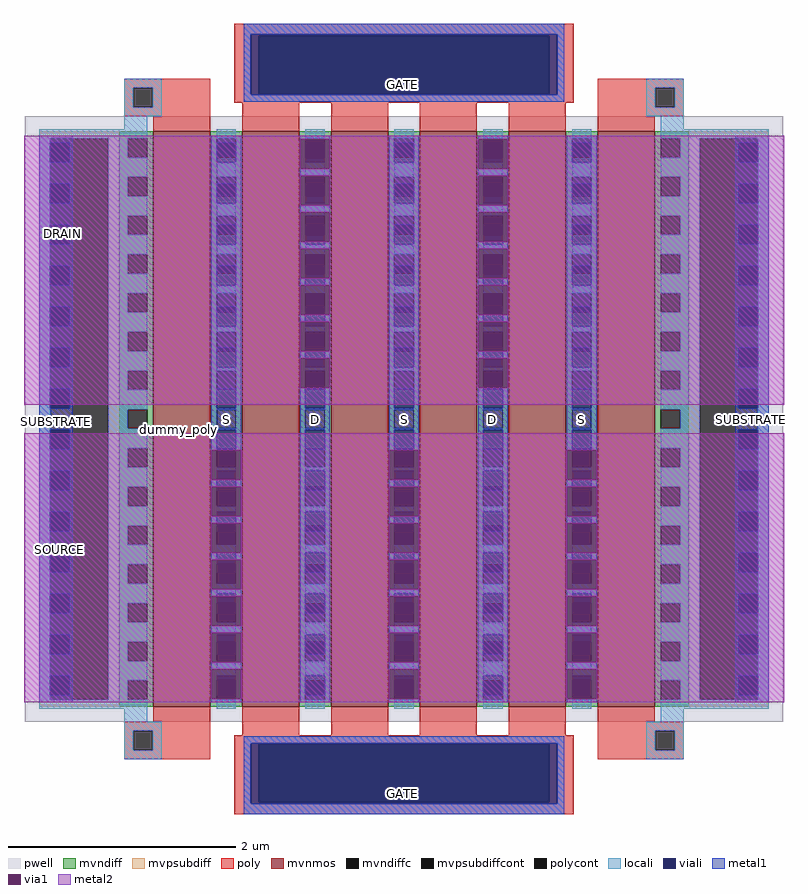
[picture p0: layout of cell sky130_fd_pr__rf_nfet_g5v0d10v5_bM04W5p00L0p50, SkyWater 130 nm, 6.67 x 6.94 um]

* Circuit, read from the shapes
.subckt sky130_fd_pr__rf_nfet_g5v0d10v5_bM04W5p00L0p50 DRAIN GATE SOURCE SUBSTRATE
XM1 SOURCE SUBSTRATE SUBSTRATE SUBSTRATE sky130_fd_pr__nfet_g5v0d10v5 w=5.05 l=0.5 m=2
XM2 DRAIN GATE SOURCE SUBSTRATE sky130_fd_pr__nfet_g5v0d10v5 w=5.05 l=0.5 m=4
.ends

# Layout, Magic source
magic
tech sky130A
magscale 1 2
<< pwell >>
rect 15 163 1347 1225
<< mvnmos >>
rect 241 189 341 1199
rect 397 189 497 1199
rect 553 189 653 1199
rect 709 189 809 1199
rect 865 189 965 1199
rect 1021 189 1121 1199
<< mvndiff >>
rect 181 1187 241 1199
rect 181 1153 196 1187
rect 230 1153 241 1187
rect 181 1119 241 1153
rect 181 1085 196 1119
rect 230 1085 241 1119
rect 181 1051 241 1085
rect 181 1017 196 1051
rect 230 1017 241 1051
rect 181 983 241 1017
rect 181 949 196 983
rect 230 949 241 983
rect 181 915 241 949
rect 181 881 196 915
rect 230 881 241 915
rect 181 847 241 881
rect 181 813 196 847
rect 230 813 241 847
rect 181 779 241 813
rect 181 745 196 779
rect 230 745 241 779
rect 181 711 241 745
rect 181 677 196 711
rect 230 677 241 711
rect 181 643 241 677
rect 181 609 196 643
rect 230 609 241 643
rect 181 575 241 609
rect 181 541 196 575
rect 230 541 241 575
rect 181 507 241 541
rect 181 473 196 507
rect 230 473 241 507
rect 181 439 241 473
rect 181 405 196 439
rect 230 405 241 439
rect 181 371 241 405
rect 181 337 196 371
rect 230 337 241 371
rect 181 303 241 337
rect 181 269 196 303
rect 230 269 241 303
rect 181 235 241 269
rect 181 201 196 235
rect 230 201 241 235
rect 181 189 241 201
rect 341 1187 397 1199
rect 341 1153 352 1187
rect 386 1153 397 1187
rect 341 1119 397 1153
rect 341 1085 352 1119
rect 386 1085 397 1119
rect 341 1051 397 1085
rect 341 1017 352 1051
rect 386 1017 397 1051
rect 341 983 397 1017
rect 341 949 352 983
rect 386 949 397 983
rect 341 915 397 949
rect 341 881 352 915
rect 386 881 397 915
rect 341 847 397 881
rect 341 813 352 847
rect 386 813 397 847
rect 341 779 397 813
rect 341 745 352 779
rect 386 745 397 779
rect 341 711 397 745
rect 341 677 352 711
rect 386 677 397 711
rect 341 643 397 677
rect 341 609 352 643
rect 386 609 397 643
rect 341 575 397 609
rect 341 541 352 575
rect 386 541 397 575
rect 341 507 397 541
rect 341 473 352 507
rect 386 473 397 507
rect 341 439 397 473
rect 341 405 352 439
rect 386 405 397 439
rect 341 371 397 405
rect 341 337 352 371
rect 386 337 397 371
rect 341 303 397 337
rect 341 269 352 303
rect 386 269 397 303
rect 341 235 397 269
rect 341 201 352 235
rect 386 201 397 235
rect 341 189 397 201
rect 497 1187 553 1199
rect 497 1153 508 1187
rect 542 1153 553 1187
rect 497 1119 553 1153
rect 497 1085 508 1119
rect 542 1085 553 1119
rect 497 1051 553 1085
rect 497 1017 508 1051
rect 542 1017 553 1051
rect 497 983 553 1017
rect 497 949 508 983
rect 542 949 553 983
rect 497 915 553 949
rect 497 881 508 915
rect 542 881 553 915
rect 497 847 553 881
rect 497 813 508 847
rect 542 813 553 847
rect 497 779 553 813
rect 497 745 508 779
rect 542 745 553 779
rect 497 711 553 745
rect 497 677 508 711
rect 542 677 553 711
rect 497 643 553 677
rect 497 609 508 643
rect 542 609 553 643
rect 497 575 553 609
rect 497 541 508 575
rect 542 541 553 575
rect 497 507 553 541
rect 497 473 508 507
rect 542 473 553 507
rect 497 439 553 473
rect 497 405 508 439
rect 542 405 553 439
rect 497 371 553 405
rect 497 337 508 371
rect 542 337 553 371
rect 497 303 553 337
rect 497 269 508 303
rect 542 269 553 303
rect 497 235 553 269
rect 497 201 508 235
rect 542 201 553 235
rect 497 189 553 201
rect 653 1187 709 1199
rect 653 1153 664 1187
rect 698 1153 709 1187
rect 653 1119 709 1153
rect 653 1085 664 1119
rect 698 1085 709 1119
rect 653 1051 709 1085
rect 653 1017 664 1051
rect 698 1017 709 1051
rect 653 983 709 1017
rect 653 949 664 983
rect 698 949 709 983
rect 653 915 709 949
rect 653 881 664 915
rect 698 881 709 915
rect 653 847 709 881
rect 653 813 664 847
rect 698 813 709 847
rect 653 779 709 813
rect 653 745 664 779
rect 698 745 709 779
rect 653 711 709 745
rect 653 677 664 711
rect 698 677 709 711
rect 653 643 709 677
rect 653 609 664 643
rect 698 609 709 643
rect 653 575 709 609
rect 653 541 664 575
rect 698 541 709 575
rect 653 507 709 541
rect 653 473 664 507
rect 698 473 709 507
rect 653 439 709 473
rect 653 405 664 439
rect 698 405 709 439
rect 653 371 709 405
rect 653 337 664 371
rect 698 337 709 371
rect 653 303 709 337
rect 653 269 664 303
rect 698 269 709 303
rect 653 235 709 269
rect 653 201 664 235
rect 698 201 709 235
rect 653 189 709 201
rect 809 1187 865 1199
rect 809 1153 820 1187
rect 854 1153 865 1187
rect 809 1119 865 1153
rect 809 1085 820 1119
rect 854 1085 865 1119
rect 809 1051 865 1085
rect 809 1017 820 1051
rect 854 1017 865 1051
rect 809 983 865 1017
rect 809 949 820 983
rect 854 949 865 983
rect 809 915 865 949
rect 809 881 820 915
rect 854 881 865 915
rect 809 847 865 881
rect 809 813 820 847
rect 854 813 865 847
rect 809 779 865 813
rect 809 745 820 779
rect 854 745 865 779
rect 809 711 865 745
rect 809 677 820 711
rect 854 677 865 711
rect 809 643 865 677
rect 809 609 820 643
rect 854 609 865 643
rect 809 575 865 609
rect 809 541 820 575
rect 854 541 865 575
rect 809 507 865 541
rect 809 473 820 507
rect 854 473 865 507
rect 809 439 865 473
rect 809 405 820 439
rect 854 405 865 439
rect 809 371 865 405
rect 809 337 820 371
rect 854 337 865 371
rect 809 303 865 337
rect 809 269 820 303
rect 854 269 865 303
rect 809 235 865 269
rect 809 201 820 235
rect 854 201 865 235
rect 809 189 865 201
rect 965 1187 1021 1199
rect 965 1153 976 1187
rect 1010 1153 1021 1187
rect 965 1119 1021 1153
rect 965 1085 976 1119
rect 1010 1085 1021 1119
rect 965 1051 1021 1085
rect 965 1017 976 1051
rect 1010 1017 1021 1051
rect 965 983 1021 1017
rect 965 949 976 983
rect 1010 949 1021 983
rect 965 915 1021 949
rect 965 881 976 915
rect 1010 881 1021 915
rect 965 847 1021 881
rect 965 813 976 847
rect 1010 813 1021 847
rect 965 779 1021 813
rect 965 745 976 779
rect 1010 745 1021 779
rect 965 711 1021 745
rect 965 677 976 711
rect 1010 677 1021 711
rect 965 643 1021 677
rect 965 609 976 643
rect 1010 609 1021 643
rect 965 575 1021 609
rect 965 541 976 575
rect 1010 541 1021 575
rect 965 507 1021 541
rect 965 473 976 507
rect 1010 473 1021 507
rect 965 439 1021 473
rect 965 405 976 439
rect 1010 405 1021 439
rect 965 371 1021 405
rect 965 337 976 371
rect 1010 337 1021 371
rect 965 303 1021 337
rect 965 269 976 303
rect 1010 269 1021 303
rect 965 235 1021 269
rect 965 201 976 235
rect 1010 201 1021 235
rect 965 189 1021 201
rect 1121 1187 1181 1199
rect 1121 1153 1132 1187
rect 1166 1153 1181 1187
rect 1121 1119 1181 1153
rect 1121 1085 1132 1119
rect 1166 1085 1181 1119
rect 1121 1051 1181 1085
rect 1121 1017 1132 1051
rect 1166 1017 1181 1051
rect 1121 983 1181 1017
rect 1121 949 1132 983
rect 1166 949 1181 983
rect 1121 915 1181 949
rect 1121 881 1132 915
rect 1166 881 1181 915
rect 1121 847 1181 881
rect 1121 813 1132 847
rect 1166 813 1181 847
rect 1121 779 1181 813
rect 1121 745 1132 779
rect 1166 745 1181 779
rect 1121 711 1181 745
rect 1121 677 1132 711
rect 1166 677 1181 711
rect 1121 643 1181 677
rect 1121 609 1132 643
rect 1166 609 1181 643
rect 1121 575 1181 609
rect 1121 541 1132 575
rect 1166 541 1181 575
rect 1121 507 1181 541
rect 1121 473 1132 507
rect 1166 473 1181 507
rect 1121 439 1181 473
rect 1121 405 1132 439
rect 1166 405 1181 439
rect 1121 371 1181 405
rect 1121 337 1132 371
rect 1166 337 1181 371
rect 1121 303 1181 337
rect 1121 269 1132 303
rect 1166 269 1181 303
rect 1121 235 1181 269
rect 1121 201 1132 235
rect 1166 201 1181 235
rect 1121 189 1181 201
<< mvndiffc >>
rect 196 1153 230 1187
rect 196 1085 230 1119
rect 196 1017 230 1051
rect 196 949 230 983
rect 196 881 230 915
rect 196 813 230 847
rect 196 745 230 779
rect 196 677 230 711
rect 196 609 230 643
rect 196 541 230 575
rect 196 473 230 507
rect 196 405 230 439
rect 196 337 230 371
rect 196 269 230 303
rect 196 201 230 235
rect 352 1153 386 1187
rect 352 1085 386 1119
rect 352 1017 386 1051
rect 352 949 386 983
rect 352 881 386 915
rect 352 813 386 847
rect 352 745 386 779
rect 352 677 386 711
rect 352 609 386 643
rect 352 541 386 575
rect 352 473 386 507
rect 352 405 386 439
rect 352 337 386 371
rect 352 269 386 303
rect 352 201 386 235
rect 508 1153 542 1187
rect 508 1085 542 1119
rect 508 1017 542 1051
rect 508 949 542 983
rect 508 881 542 915
rect 508 813 542 847
rect 508 745 542 779
rect 508 677 542 711
rect 508 609 542 643
rect 508 541 542 575
rect 508 473 542 507
rect 508 405 542 439
rect 508 337 542 371
rect 508 269 542 303
rect 508 201 542 235
rect 664 1153 698 1187
rect 664 1085 698 1119
rect 664 1017 698 1051
rect 664 949 698 983
rect 664 881 698 915
rect 664 813 698 847
rect 664 745 698 779
rect 664 677 698 711
rect 664 609 698 643
rect 664 541 698 575
rect 664 473 698 507
rect 664 405 698 439
rect 664 337 698 371
rect 664 269 698 303
rect 664 201 698 235
rect 820 1153 854 1187
rect 820 1085 854 1119
rect 820 1017 854 1051
rect 820 949 854 983
rect 820 881 854 915
rect 820 813 854 847
rect 820 745 854 779
rect 820 677 854 711
rect 820 609 854 643
rect 820 541 854 575
rect 820 473 854 507
rect 820 405 854 439
rect 820 337 854 371
rect 820 269 854 303
rect 820 201 854 235
rect 976 1153 1010 1187
rect 976 1085 1010 1119
rect 976 1017 1010 1051
rect 976 949 1010 983
rect 976 881 1010 915
rect 976 813 1010 847
rect 976 745 1010 779
rect 976 677 1010 711
rect 976 609 1010 643
rect 976 541 1010 575
rect 976 473 1010 507
rect 976 405 1010 439
rect 976 337 1010 371
rect 976 269 1010 303
rect 976 201 1010 235
rect 1132 1153 1166 1187
rect 1132 1085 1166 1119
rect 1132 1017 1166 1051
rect 1132 949 1166 983
rect 1132 881 1166 915
rect 1132 813 1166 847
rect 1132 745 1166 779
rect 1132 677 1166 711
rect 1132 609 1166 643
rect 1132 541 1166 575
rect 1132 473 1166 507
rect 1132 405 1166 439
rect 1132 337 1166 371
rect 1132 269 1166 303
rect 1132 201 1166 235
<< mvpsubdiff >>
rect 41 1187 181 1199
rect 41 201 60 1187
rect 162 201 181 1187
rect 41 189 181 201
rect 1181 1187 1321 1199
rect 1181 201 1200 1187
rect 1302 201 1321 1187
rect 1181 189 1321 201
<< mvpsubdiffcont >>
rect 60 201 162 1187
rect 1200 201 1302 1187
<< poly >>
rect 383 1367 979 1388
rect 190 1275 341 1291
rect 190 1241 206 1275
rect 240 1241 341 1275
rect 383 1265 426 1367
rect 936 1265 979 1367
rect 383 1249 979 1265
rect 1021 1275 1172 1291
rect 190 1225 341 1241
rect 241 1199 341 1225
rect 397 1199 497 1249
rect 553 1199 653 1249
rect 709 1199 809 1249
rect 865 1199 965 1249
rect 1021 1241 1122 1275
rect 1156 1241 1172 1275
rect 1021 1225 1172 1241
rect 1021 1199 1121 1225
rect 241 163 341 189
rect 190 147 341 163
rect 190 113 206 147
rect 240 113 341 147
rect 397 139 497 189
rect 553 139 653 189
rect 709 139 809 189
rect 865 139 965 189
rect 1021 163 1121 189
rect 1021 147 1172 163
rect 190 97 341 113
rect 383 123 979 139
rect 383 21 426 123
rect 936 21 979 123
rect 1021 113 1122 147
rect 1156 113 1172 147
rect 1021 97 1172 113
rect 383 0 979 21
<< polycont >>
rect 206 1241 240 1275
rect 426 1265 936 1367
rect 1122 1241 1156 1275
rect 206 113 240 147
rect 426 21 936 123
rect 1122 113 1156 147
<< locali >>
rect 400 1369 962 1388
rect 190 1275 256 1291
rect 190 1241 206 1275
rect 240 1241 256 1275
rect 400 1263 412 1369
rect 950 1263 962 1369
rect 400 1251 962 1263
rect 1106 1275 1172 1291
rect 190 1225 256 1241
rect 1106 1241 1122 1275
rect 1156 1241 1172 1275
rect 1106 1225 1172 1241
rect 190 1203 230 1225
rect 1132 1203 1172 1225
rect 41 1187 230 1203
rect 41 201 60 1187
rect 162 1153 196 1187
rect 162 1119 230 1153
rect 162 1085 196 1119
rect 162 1051 230 1085
rect 162 1017 196 1051
rect 162 983 230 1017
rect 162 949 196 983
rect 162 915 230 949
rect 162 881 196 915
rect 162 847 230 881
rect 162 813 196 847
rect 162 779 230 813
rect 162 745 196 779
rect 162 711 230 745
rect 162 677 196 711
rect 162 643 230 677
rect 162 609 196 643
rect 162 575 230 609
rect 162 541 196 575
rect 162 507 230 541
rect 162 473 196 507
rect 162 439 230 473
rect 162 405 196 439
rect 162 371 230 405
rect 162 337 196 371
rect 162 303 230 337
rect 162 269 196 303
rect 162 235 230 269
rect 162 201 196 235
rect 41 185 230 201
rect 352 1187 386 1203
rect 352 1119 386 1145
rect 352 1051 386 1073
rect 352 983 386 1001
rect 352 915 386 929
rect 352 847 386 857
rect 352 779 386 785
rect 352 711 386 713
rect 352 675 386 677
rect 352 603 386 609
rect 352 531 386 541
rect 352 459 386 473
rect 352 387 386 405
rect 352 315 386 337
rect 352 243 386 269
rect 352 185 386 201
rect 508 1187 542 1203
rect 508 1119 542 1145
rect 508 1051 542 1073
rect 508 983 542 1001
rect 508 915 542 929
rect 508 847 542 857
rect 508 779 542 785
rect 508 711 542 713
rect 508 675 542 677
rect 508 603 542 609
rect 508 531 542 541
rect 508 459 542 473
rect 508 387 542 405
rect 508 315 542 337
rect 508 243 542 269
rect 508 185 542 201
rect 664 1187 698 1203
rect 664 1119 698 1145
rect 664 1051 698 1073
rect 664 983 698 1001
rect 664 915 698 929
rect 664 847 698 857
rect 664 779 698 785
rect 664 711 698 713
rect 664 675 698 677
rect 664 603 698 609
rect 664 531 698 541
rect 664 459 698 473
rect 664 387 698 405
rect 664 315 698 337
rect 664 243 698 269
rect 664 185 698 201
rect 820 1187 854 1203
rect 820 1119 854 1145
rect 820 1051 854 1073
rect 820 983 854 1001
rect 820 915 854 929
rect 820 847 854 857
rect 820 779 854 785
rect 820 711 854 713
rect 820 675 854 677
rect 820 603 854 609
rect 820 531 854 541
rect 820 459 854 473
rect 820 387 854 405
rect 820 315 854 337
rect 820 243 854 269
rect 820 185 854 201
rect 976 1187 1010 1203
rect 976 1119 1010 1145
rect 976 1051 1010 1073
rect 976 983 1010 1001
rect 976 915 1010 929
rect 976 847 1010 857
rect 976 779 1010 785
rect 976 711 1010 713
rect 976 675 1010 677
rect 976 603 1010 609
rect 976 531 1010 541
rect 976 459 1010 473
rect 976 387 1010 405
rect 976 315 1010 337
rect 976 243 1010 269
rect 976 185 1010 201
rect 1132 1187 1321 1203
rect 1166 1153 1200 1187
rect 1132 1119 1200 1153
rect 1166 1085 1200 1119
rect 1132 1051 1200 1085
rect 1166 1017 1200 1051
rect 1132 983 1200 1017
rect 1166 949 1200 983
rect 1132 915 1200 949
rect 1166 881 1200 915
rect 1132 847 1200 881
rect 1166 813 1200 847
rect 1132 779 1200 813
rect 1166 745 1200 779
rect 1132 711 1200 745
rect 1166 677 1200 711
rect 1132 643 1200 677
rect 1166 609 1200 643
rect 1132 575 1200 609
rect 1166 541 1200 575
rect 1132 507 1200 541
rect 1166 473 1200 507
rect 1132 439 1200 473
rect 1166 405 1200 439
rect 1132 371 1200 405
rect 1166 337 1200 371
rect 1132 303 1200 337
rect 1166 269 1200 303
rect 1132 235 1200 269
rect 1166 201 1200 235
rect 1302 201 1321 1187
rect 1132 185 1321 201
rect 190 163 230 185
rect 1132 163 1172 185
rect 190 147 256 163
rect 190 113 206 147
rect 240 113 256 147
rect 1106 147 1172 163
rect 190 97 256 113
rect 400 125 962 137
rect 400 19 412 125
rect 950 19 962 125
rect 1106 113 1122 147
rect 1156 113 1172 147
rect 1106 97 1172 113
rect 400 0 962 19
<< viali >>
rect 412 1367 950 1369
rect 412 1265 426 1367
rect 426 1265 936 1367
rect 936 1265 950 1367
rect 412 1263 950 1265
rect 60 1145 94 1179
rect 60 1073 94 1107
rect 60 1001 94 1035
rect 60 929 94 963
rect 60 857 94 891
rect 60 785 94 819
rect 60 713 94 747
rect 60 641 94 675
rect 60 569 94 603
rect 60 497 94 531
rect 60 425 94 459
rect 60 353 94 387
rect 60 281 94 315
rect 60 209 94 243
rect 352 1153 386 1179
rect 352 1145 386 1153
rect 352 1085 386 1107
rect 352 1073 386 1085
rect 352 1017 386 1035
rect 352 1001 386 1017
rect 352 949 386 963
rect 352 929 386 949
rect 352 881 386 891
rect 352 857 386 881
rect 352 813 386 819
rect 352 785 386 813
rect 352 745 386 747
rect 352 713 386 745
rect 352 643 386 675
rect 352 641 386 643
rect 352 575 386 603
rect 352 569 386 575
rect 352 507 386 531
rect 352 497 386 507
rect 352 439 386 459
rect 352 425 386 439
rect 352 371 386 387
rect 352 353 386 371
rect 352 303 386 315
rect 352 281 386 303
rect 352 235 386 243
rect 352 209 386 235
rect 508 1153 542 1179
rect 508 1145 542 1153
rect 508 1085 542 1107
rect 508 1073 542 1085
rect 508 1017 542 1035
rect 508 1001 542 1017
rect 508 949 542 963
rect 508 929 542 949
rect 508 881 542 891
rect 508 857 542 881
rect 508 813 542 819
rect 508 785 542 813
rect 508 745 542 747
rect 508 713 542 745
rect 508 643 542 675
rect 508 641 542 643
rect 508 575 542 603
rect 508 569 542 575
rect 508 507 542 531
rect 508 497 542 507
rect 508 439 542 459
rect 508 425 542 439
rect 508 371 542 387
rect 508 353 542 371
rect 508 303 542 315
rect 508 281 542 303
rect 508 235 542 243
rect 508 209 542 235
rect 664 1153 698 1179
rect 664 1145 698 1153
rect 664 1085 698 1107
rect 664 1073 698 1085
rect 664 1017 698 1035
rect 664 1001 698 1017
rect 664 949 698 963
rect 664 929 698 949
rect 664 881 698 891
rect 664 857 698 881
rect 664 813 698 819
rect 664 785 698 813
rect 664 745 698 747
rect 664 713 698 745
rect 664 643 698 675
rect 664 641 698 643
rect 664 575 698 603
rect 664 569 698 575
rect 664 507 698 531
rect 664 497 698 507
rect 664 439 698 459
rect 664 425 698 439
rect 664 371 698 387
rect 664 353 698 371
rect 664 303 698 315
rect 664 281 698 303
rect 664 235 698 243
rect 664 209 698 235
rect 820 1153 854 1179
rect 820 1145 854 1153
rect 820 1085 854 1107
rect 820 1073 854 1085
rect 820 1017 854 1035
rect 820 1001 854 1017
rect 820 949 854 963
rect 820 929 854 949
rect 820 881 854 891
rect 820 857 854 881
rect 820 813 854 819
rect 820 785 854 813
rect 820 745 854 747
rect 820 713 854 745
rect 820 643 854 675
rect 820 641 854 643
rect 820 575 854 603
rect 820 569 854 575
rect 820 507 854 531
rect 820 497 854 507
rect 820 439 854 459
rect 820 425 854 439
rect 820 371 854 387
rect 820 353 854 371
rect 820 303 854 315
rect 820 281 854 303
rect 820 235 854 243
rect 820 209 854 235
rect 976 1153 1010 1179
rect 976 1145 1010 1153
rect 976 1085 1010 1107
rect 976 1073 1010 1085
rect 976 1017 1010 1035
rect 976 1001 1010 1017
rect 976 949 1010 963
rect 976 929 1010 949
rect 976 881 1010 891
rect 976 857 1010 881
rect 976 813 1010 819
rect 976 785 1010 813
rect 976 745 1010 747
rect 976 713 1010 745
rect 976 643 1010 675
rect 976 641 1010 643
rect 976 575 1010 603
rect 976 569 1010 575
rect 976 507 1010 531
rect 976 497 1010 507
rect 976 439 1010 459
rect 976 425 1010 439
rect 976 371 1010 387
rect 976 353 1010 371
rect 976 303 1010 315
rect 976 281 1010 303
rect 976 235 1010 243
rect 976 209 1010 235
rect 1268 1145 1302 1179
rect 1268 1073 1302 1107
rect 1268 1001 1302 1035
rect 1268 929 1302 963
rect 1268 857 1302 891
rect 1268 785 1302 819
rect 1268 713 1302 747
rect 1268 641 1302 675
rect 1268 569 1302 603
rect 1268 497 1302 531
rect 1268 425 1302 459
rect 1268 353 1302 387
rect 1268 281 1302 315
rect 1268 209 1302 243
rect 412 123 950 125
rect 412 21 426 123
rect 426 21 936 123
rect 936 21 950 123
rect 412 19 950 21
<< metal1 >>
rect 400 1369 962 1388
rect 400 1263 412 1369
rect 950 1263 962 1369
rect 400 1251 962 1263
rect 41 1179 100 1191
rect 41 1145 60 1179
rect 94 1145 100 1179
rect 41 1107 100 1145
rect 41 1073 60 1107
rect 94 1073 100 1107
rect 41 1035 100 1073
rect 41 1001 60 1035
rect 94 1001 100 1035
rect 41 963 100 1001
rect 41 929 60 963
rect 94 929 100 963
rect 41 891 100 929
rect 41 857 60 891
rect 94 857 100 891
rect 41 819 100 857
rect 41 785 60 819
rect 94 785 100 819
rect 41 747 100 785
rect 41 713 60 747
rect 94 713 100 747
rect 41 675 100 713
rect 41 641 60 675
rect 94 641 100 675
rect 41 603 100 641
rect 41 569 60 603
rect 94 569 100 603
rect 41 531 100 569
rect 41 497 60 531
rect 94 497 100 531
rect 41 459 100 497
rect 41 425 60 459
rect 94 425 100 459
rect 41 387 100 425
rect 41 353 60 387
rect 94 353 100 387
rect 41 315 100 353
rect 41 281 60 315
rect 94 281 100 315
rect 41 243 100 281
rect 41 209 60 243
rect 94 209 100 243
rect 41 197 100 209
rect 343 1179 395 1191
rect 343 1145 352 1179
rect 386 1145 395 1179
rect 343 1107 395 1145
rect 343 1073 352 1107
rect 386 1073 395 1107
rect 343 1035 395 1073
rect 343 1001 352 1035
rect 386 1001 395 1035
rect 343 963 395 1001
rect 343 929 352 963
rect 386 929 395 963
rect 343 891 395 929
rect 343 857 352 891
rect 386 857 395 891
rect 343 819 395 857
rect 343 785 352 819
rect 386 785 395 819
rect 343 747 395 785
rect 343 713 352 747
rect 386 713 395 747
rect 343 675 395 713
rect 343 641 352 675
rect 386 641 395 675
rect 343 639 395 641
rect 343 575 352 587
rect 386 575 395 587
rect 343 511 352 523
rect 386 511 395 523
rect 343 447 352 459
rect 386 447 395 459
rect 343 387 395 395
rect 343 383 352 387
rect 386 383 395 387
rect 343 319 395 331
rect 343 255 395 267
rect 343 197 395 203
rect 499 1185 551 1191
rect 499 1121 551 1133
rect 499 1057 551 1069
rect 499 1001 508 1005
rect 542 1001 551 1005
rect 499 993 551 1001
rect 499 929 508 941
rect 542 929 551 941
rect 499 865 508 877
rect 542 865 551 877
rect 499 801 508 813
rect 542 801 551 813
rect 499 747 551 749
rect 499 713 508 747
rect 542 713 551 747
rect 499 675 551 713
rect 499 641 508 675
rect 542 641 551 675
rect 499 603 551 641
rect 499 569 508 603
rect 542 569 551 603
rect 499 531 551 569
rect 499 497 508 531
rect 542 497 551 531
rect 499 459 551 497
rect 499 425 508 459
rect 542 425 551 459
rect 499 387 551 425
rect 499 353 508 387
rect 542 353 551 387
rect 499 315 551 353
rect 499 281 508 315
rect 542 281 551 315
rect 499 243 551 281
rect 499 209 508 243
rect 542 209 551 243
rect 499 197 551 209
rect 655 1179 707 1191
rect 655 1145 664 1179
rect 698 1145 707 1179
rect 655 1107 707 1145
rect 655 1073 664 1107
rect 698 1073 707 1107
rect 655 1035 707 1073
rect 655 1001 664 1035
rect 698 1001 707 1035
rect 655 963 707 1001
rect 655 929 664 963
rect 698 929 707 963
rect 655 891 707 929
rect 655 857 664 891
rect 698 857 707 891
rect 655 819 707 857
rect 655 785 664 819
rect 698 785 707 819
rect 655 747 707 785
rect 655 713 664 747
rect 698 713 707 747
rect 655 675 707 713
rect 655 641 664 675
rect 698 641 707 675
rect 655 639 707 641
rect 655 575 664 587
rect 698 575 707 587
rect 655 511 664 523
rect 698 511 707 523
rect 655 447 664 459
rect 698 447 707 459
rect 655 387 707 395
rect 655 383 664 387
rect 698 383 707 387
rect 655 319 707 331
rect 655 255 707 267
rect 655 197 707 203
rect 811 1185 863 1191
rect 811 1121 863 1133
rect 811 1057 863 1069
rect 811 1001 820 1005
rect 854 1001 863 1005
rect 811 993 863 1001
rect 811 929 820 941
rect 854 929 863 941
rect 811 865 820 877
rect 854 865 863 877
rect 811 801 820 813
rect 854 801 863 813
rect 811 747 863 749
rect 811 713 820 747
rect 854 713 863 747
rect 811 675 863 713
rect 811 641 820 675
rect 854 641 863 675
rect 811 603 863 641
rect 811 569 820 603
rect 854 569 863 603
rect 811 531 863 569
rect 811 497 820 531
rect 854 497 863 531
rect 811 459 863 497
rect 811 425 820 459
rect 854 425 863 459
rect 811 387 863 425
rect 811 353 820 387
rect 854 353 863 387
rect 811 315 863 353
rect 811 281 820 315
rect 854 281 863 315
rect 811 243 863 281
rect 811 209 820 243
rect 854 209 863 243
rect 811 197 863 209
rect 967 1179 1019 1191
rect 967 1145 976 1179
rect 1010 1145 1019 1179
rect 967 1107 1019 1145
rect 967 1073 976 1107
rect 1010 1073 1019 1107
rect 967 1035 1019 1073
rect 967 1001 976 1035
rect 1010 1001 1019 1035
rect 967 963 1019 1001
rect 967 929 976 963
rect 1010 929 1019 963
rect 967 891 1019 929
rect 967 857 976 891
rect 1010 857 1019 891
rect 967 819 1019 857
rect 967 785 976 819
rect 1010 785 1019 819
rect 967 747 1019 785
rect 967 713 976 747
rect 1010 713 1019 747
rect 967 675 1019 713
rect 967 641 976 675
rect 1010 641 1019 675
rect 967 639 1019 641
rect 967 575 976 587
rect 1010 575 1019 587
rect 967 511 976 523
rect 1010 511 1019 523
rect 967 447 976 459
rect 1010 447 1019 459
rect 967 387 1019 395
rect 967 383 976 387
rect 1010 383 1019 387
rect 967 319 1019 331
rect 967 255 1019 267
rect 967 197 1019 203
rect 1262 1179 1321 1191
rect 1262 1145 1268 1179
rect 1302 1145 1321 1179
rect 1262 1107 1321 1145
rect 1262 1073 1268 1107
rect 1302 1073 1321 1107
rect 1262 1035 1321 1073
rect 1262 1001 1268 1035
rect 1302 1001 1321 1035
rect 1262 963 1321 1001
rect 1262 929 1268 963
rect 1302 929 1321 963
rect 1262 891 1321 929
rect 1262 857 1268 891
rect 1302 857 1321 891
rect 1262 819 1321 857
rect 1262 785 1268 819
rect 1302 785 1321 819
rect 1262 747 1321 785
rect 1262 713 1268 747
rect 1302 713 1321 747
rect 1262 675 1321 713
rect 1262 641 1268 675
rect 1302 641 1321 675
rect 1262 603 1321 641
rect 1262 569 1268 603
rect 1302 569 1321 603
rect 1262 531 1321 569
rect 1262 497 1268 531
rect 1302 497 1321 531
rect 1262 459 1321 497
rect 1262 425 1268 459
rect 1302 425 1321 459
rect 1262 387 1321 425
rect 1262 353 1268 387
rect 1302 353 1321 387
rect 1262 315 1321 353
rect 1262 281 1268 315
rect 1302 281 1321 315
rect 1262 243 1321 281
rect 1262 209 1268 243
rect 1302 209 1321 243
rect 1262 197 1321 209
rect 400 125 962 137
rect 400 19 412 125
rect 950 19 962 125
rect 400 0 962 19
<< via1 >>
rect 343 603 395 639
rect 343 587 352 603
rect 352 587 386 603
rect 386 587 395 603
rect 343 569 352 575
rect 352 569 386 575
rect 386 569 395 575
rect 343 531 395 569
rect 343 523 352 531
rect 352 523 386 531
rect 386 523 395 531
rect 343 497 352 511
rect 352 497 386 511
rect 386 497 395 511
rect 343 459 395 497
rect 343 425 352 447
rect 352 425 386 447
rect 386 425 395 447
rect 343 395 395 425
rect 343 353 352 383
rect 352 353 386 383
rect 386 353 395 383
rect 343 331 395 353
rect 343 315 395 319
rect 343 281 352 315
rect 352 281 386 315
rect 386 281 395 315
rect 343 267 395 281
rect 343 243 395 255
rect 343 209 352 243
rect 352 209 386 243
rect 386 209 395 243
rect 343 203 395 209
rect 499 1179 551 1185
rect 499 1145 508 1179
rect 508 1145 542 1179
rect 542 1145 551 1179
rect 499 1133 551 1145
rect 499 1107 551 1121
rect 499 1073 508 1107
rect 508 1073 542 1107
rect 542 1073 551 1107
rect 499 1069 551 1073
rect 499 1035 551 1057
rect 499 1005 508 1035
rect 508 1005 542 1035
rect 542 1005 551 1035
rect 499 963 551 993
rect 499 941 508 963
rect 508 941 542 963
rect 542 941 551 963
rect 499 891 551 929
rect 499 877 508 891
rect 508 877 542 891
rect 542 877 551 891
rect 499 857 508 865
rect 508 857 542 865
rect 542 857 551 865
rect 499 819 551 857
rect 499 813 508 819
rect 508 813 542 819
rect 542 813 551 819
rect 499 785 508 801
rect 508 785 542 801
rect 542 785 551 801
rect 499 749 551 785
rect 655 603 707 639
rect 655 587 664 603
rect 664 587 698 603
rect 698 587 707 603
rect 655 569 664 575
rect 664 569 698 575
rect 698 569 707 575
rect 655 531 707 569
rect 655 523 664 531
rect 664 523 698 531
rect 698 523 707 531
rect 655 497 664 511
rect 664 497 698 511
rect 698 497 707 511
rect 655 459 707 497
rect 655 425 664 447
rect 664 425 698 447
rect 698 425 707 447
rect 655 395 707 425
rect 655 353 664 383
rect 664 353 698 383
rect 698 353 707 383
rect 655 331 707 353
rect 655 315 707 319
rect 655 281 664 315
rect 664 281 698 315
rect 698 281 707 315
rect 655 267 707 281
rect 655 243 707 255
rect 655 209 664 243
rect 664 209 698 243
rect 698 209 707 243
rect 655 203 707 209
rect 811 1179 863 1185
rect 811 1145 820 1179
rect 820 1145 854 1179
rect 854 1145 863 1179
rect 811 1133 863 1145
rect 811 1107 863 1121
rect 811 1073 820 1107
rect 820 1073 854 1107
rect 854 1073 863 1107
rect 811 1069 863 1073
rect 811 1035 863 1057
rect 811 1005 820 1035
rect 820 1005 854 1035
rect 854 1005 863 1035
rect 811 963 863 993
rect 811 941 820 963
rect 820 941 854 963
rect 854 941 863 963
rect 811 891 863 929
rect 811 877 820 891
rect 820 877 854 891
rect 854 877 863 891
rect 811 857 820 865
rect 820 857 854 865
rect 854 857 863 865
rect 811 819 863 857
rect 811 813 820 819
rect 820 813 854 819
rect 854 813 863 819
rect 811 785 820 801
rect 820 785 854 801
rect 854 785 863 801
rect 811 749 863 785
rect 967 603 1019 639
rect 967 587 976 603
rect 976 587 1010 603
rect 1010 587 1019 603
rect 967 569 976 575
rect 976 569 1010 575
rect 1010 569 1019 575
rect 967 531 1019 569
rect 967 523 976 531
rect 976 523 1010 531
rect 1010 523 1019 531
rect 967 497 976 511
rect 976 497 1010 511
rect 1010 497 1019 511
rect 967 459 1019 497
rect 967 425 976 447
rect 976 425 1010 447
rect 1010 425 1019 447
rect 967 395 1019 425
rect 967 353 976 383
rect 976 353 1010 383
rect 1010 353 1019 383
rect 967 331 1019 353
rect 967 315 1019 319
rect 967 281 976 315
rect 976 281 1010 315
rect 1010 281 1019 315
rect 967 267 1019 281
rect 967 243 1019 255
rect 967 209 976 243
rect 976 209 1010 243
rect 1010 209 1019 243
rect 967 203 1019 209
<< metal2 >>
rect 14 1185 1348 1191
rect 14 1133 499 1185
rect 551 1133 811 1185
rect 863 1133 1348 1185
rect 14 1121 1348 1133
rect 14 1069 499 1121
rect 551 1069 811 1121
rect 863 1069 1348 1121
rect 14 1057 1348 1069
rect 14 1005 499 1057
rect 551 1005 811 1057
rect 863 1005 1348 1057
rect 14 993 1348 1005
rect 14 941 499 993
rect 551 941 811 993
rect 863 941 1348 993
rect 14 929 1348 941
rect 14 877 499 929
rect 551 877 811 929
rect 863 877 1348 929
rect 14 865 1348 877
rect 14 813 499 865
rect 551 813 811 865
rect 863 813 1348 865
rect 14 801 1348 813
rect 14 749 499 801
rect 551 749 811 801
rect 863 749 1348 801
rect 14 719 1348 749
rect 14 639 1348 669
rect 14 587 343 639
rect 395 587 655 639
rect 707 587 967 639
rect 1019 587 1348 639
rect 14 575 1348 587
rect 14 523 343 575
rect 395 523 655 575
rect 707 523 967 575
rect 1019 523 1348 575
rect 14 511 1348 523
rect 14 459 343 511
rect 395 459 655 511
rect 707 459 967 511
rect 1019 459 1348 511
rect 14 447 1348 459
rect 14 395 343 447
rect 395 395 655 447
rect 707 395 967 447
rect 1019 395 1348 447
rect 14 383 1348 395
rect 14 331 343 383
rect 395 331 655 383
rect 707 331 967 383
rect 1019 331 1348 383
rect 14 319 1348 331
rect 14 267 343 319
rect 395 267 655 319
rect 707 267 967 319
rect 1019 267 1348 319
rect 14 255 1348 267
rect 14 203 343 255
rect 395 203 655 255
rect 707 203 967 255
rect 1019 203 1348 255
rect 14 197 1348 203
<< labels >>
flabel metal1 s 628 1261 729 1301 0 FreeSans 400 0 0 0 GATE
port 2 nsew
flabel metal1 s 628 17 729 57 0 FreeSans 200 0 0 0 GATE
port 2 nsew
flabel comment s 993 694 993 694 0 FreeSans 300 0 0 0 S
flabel comment s 837 694 837 694 0 FreeSans 300 0 0 0 D
flabel comment s 837 694 837 694 0 FreeSans 300 0 0 0 S
flabel comment s 681 694 681 694 0 FreeSans 300 0 0 0 S
flabel comment s 681 694 681 694 0 FreeSans 300 0 0 0 S
flabel comment s 525 694 525 694 0 FreeSans 300 0 0 0 D
flabel comment s 525 694 525 694 0 FreeSans 300 0 0 0 S
flabel comment s 369 694 369 694 0 FreeSans 300 0 0 0 S
flabel comment s 369 694 369 694 0 FreeSans 300 0 0 0 S
flabel comment s 1068 678 1068 678 0 FreeSans 400 90 0 0 dummy_poly
flabel comment s 286 676 286 676 0 FreeSans 400 90 0 0 dummy_poly
flabel metal1 s 1262 679 1321 709 0 FreeSans 200 90 0 0 SUBSTRATE
port 4 nsew
flabel metal1 s 41 675 100 705 0 FreeSans 200 90 0 0 SUBSTRATE
port 4 nsew
flabel metal2 s 25 991 137 1048 0 FreeSans 200 0 0 0 DRAIN
port 1 nsew
flabel metal2 s 25 442 128 488 0 FreeSans 200 0 0 0 SOURCE
port 3 nsew
<< properties >>
string GDS_FILE $PDKPATH/libs.ref/sky130_fd_pr/gds/sky130_fd_pr.gds
string GDS_END 8619892
string GDS_START 8589490
<< end >>
